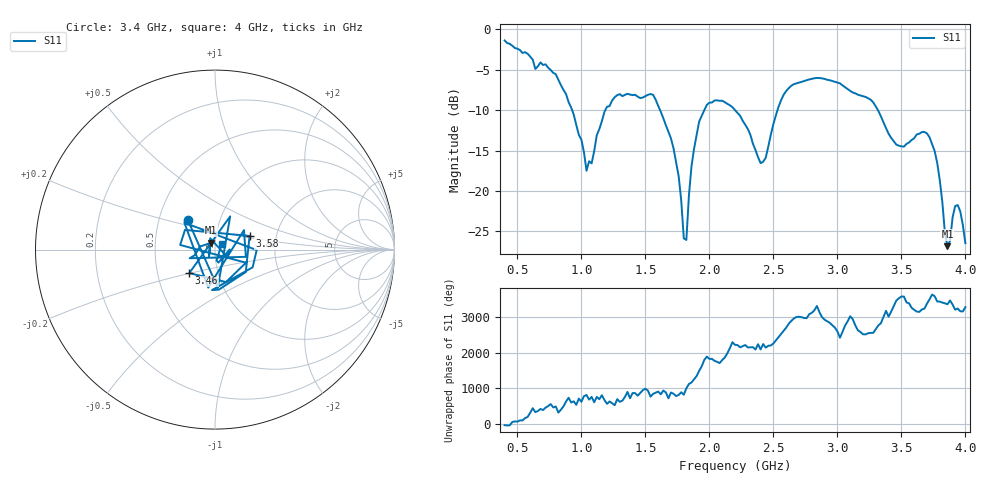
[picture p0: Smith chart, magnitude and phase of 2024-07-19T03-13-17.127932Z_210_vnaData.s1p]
!Created with skrf (http://scikit-rf.org).
# Hz S RI R 50.0
!freq ReS11 ImS11
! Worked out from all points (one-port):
!   181 points, 400 MHz to 4 GHz, reference 50 ohm
!   lowest |S11| = -26.8 dB at 3.86 GHz (marker M1), VSWR 1.10, Z = 47.5 + j3.7 ohm
!   |S11| at or under -10 dB: 1.615 GHz to 1.96 GHz (344.7 MHz wide, 19.3 % of centre); 2.201 GHz to 2.532 GHz (331 MHz wide, 14 % of centre); 3.317 GHz to end of sweep (the widest 3 of 4)
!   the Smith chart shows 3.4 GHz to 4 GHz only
!   S11 on the Smith chart (normalised r, x): 3.4 GHz: 0.70, +0.25; 3.46 GHz: 0.73, -0.20; 3.58 GHz: 1.46, +0.23; 4 GHz: 1.07, +0.07
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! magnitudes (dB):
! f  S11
! 400 MHz  -1.4
! 860 MHz  -7.5
! 1.04 GHz  -17.5
! 1.18 GHz  -10.2
! 1.3 GHz  -8.0
! 1.56 GHz  -8.1
! 1.7 GHz  -13.5
! 1.76 GHz  -18.2
! 1.8 GHz  -25.9
! 1.82 GHz  -26.1
! 1.86 GHz  -16.9
! 1.92 GHz  -11.4
! 2.04 GHz  -8.8
! 2.2 GHz  -10.0
! 2.4 GHz  -16.5
! 2.56 GHz  -8.8
! 2.66 GHz  -6.8
! 3.1 GHz  -7.6
! 3.28 GHz  -9.0
! 3.4 GHz  -12.9
! 3.46 GHz  -14.2
! 3.56 GHz  -14.0
! 3.58 GHz  -13.7
! 3.68 GHz  -12.7
! 3.76 GHz  -15.1
! 3.86 GHz  -26.8
! 3.94 GHz  -21.7
! 4 GHz  -26.5
